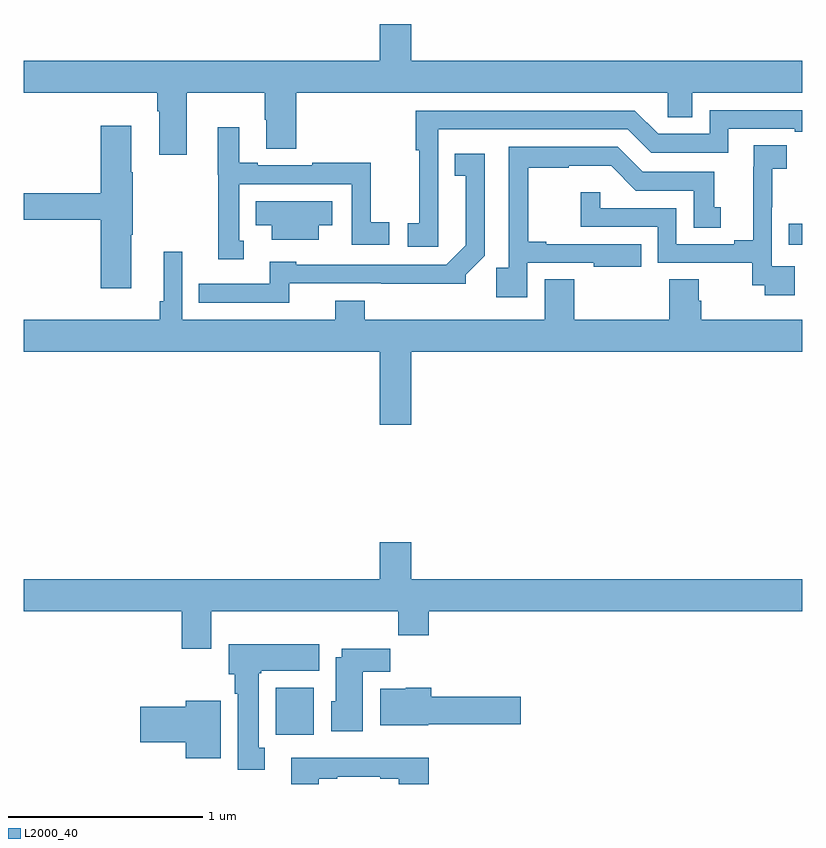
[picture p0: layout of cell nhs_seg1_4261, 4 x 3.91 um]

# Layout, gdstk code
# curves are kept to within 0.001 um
import gdstk
lib = gdstk.Library(unit=1e-6, precision=1e-09)
def R(c, l, rs):  # rectangles x0, y0, x1, y1
    for r in rs: c.add(gdstk.rectangle(r[:2], r[2:], *l))
def P(c, l, *ps):  # polygons
    for p in ps: c.add(gdstk.Polygon(p, *l))
L2000_40 = (2000, 40)

nhs_seg1_4261 = lib.new_cell('nhs_seg1_4261')
R(nhs_seg1_4261, L2000_40, [(344.294,528.452,344.491,528.694), (346.93,530.97,347,531.079)])
P(nhs_seg1_4261, L2000_40, [(343.837,531.752),(344.239,531.752),(344.239,531.614),(344.246,531.614),(344.246,531.463),(344.399,531.463),(344.399,531.752),(346.308,531.752),(346.308,531.625),(346.435,531.625),(346.435,531.752),(347,531.752),(347,531.916),(344.992,531.916),(344.992,532.105),(344.828,532.105),(344.828,531.916),(343,531.916),(343,531.752),(343.685,531.752),(343.685,531.656),(343.697,531.656),(343.697,531.432),(343.837,531.432)],
  [(345.13,531.236),(345.129,531.564),(346.104,531.564),(346.224,531.444),(346.62,531.444),(346.62,531.567),(346.961,531.567),(346.961,531.552),(347,531.552),(347,531.663),(346.524,531.663),(346.524,531.54),(346.26,531.54),(346.14,531.66),(345.013,531.66),(345.013,531.457),(345.031,531.457),(345.031,531.081),(344.973,531.081),(344.973,530.961),(345.13,530.961)],
  [(343.552,531.023),(343.56,531.023),(343.56,531.344),(343.552,531.344),(343.552,531.583),(343.394,531.583),(343.394,531.236),(343,531.236),(343,531.1),(343.394,531.1),(343.394,530.748),(343.552,530.748)],
  [(344.131,530.991),(344.106,530.991),(344.106,531.282),(344.685,531.282),(344.685,530.97),(344.878,530.97),(344.878,531.086),(344.784,531.086),(344.784,531.391),(344.482,531.391),(344.482,531.378),(344.203,531.378),(344.203,531.391),(344.107,531.391),(344.107,531.574),(343.997,531.574),(343.997,531.329),(343.998,531.329),(343.998,530.897),(344.131,530.897)],
  [(346.963,530.859),(346.845,530.859),(346.845,531.163),(346.847,531.163),(346.847,531.361),(346.921,531.361),(346.921,531.482),(346.75,531.482),(346.75,531.371),(346.748,531.371),(346.748,530.993),(346.652,530.993),(346.652,530.973),(346.353,530.973),(346.353,531.159),(345.963,531.159),(345.963,531.241),(345.862,531.241),(345.862,531.063),(346.257,531.063),(346.257,530.877),(346.744,530.877),(346.744,530.763),(346.807,530.763),(346.807,530.712),(346.963,530.712)],
  [(345.588,530.877),(345.929,530.877),(345.929,530.858),(346.172,530.858),(346.172,530.973),(345.685,530.973),(345.685,530.986),(345.593,530.986),(345.593,531.366),(345.8,531.366),(345.8,531.377),(346.018,531.377),(346.146,531.249),(346.442,531.249),(346.442,531.058),(346.582,531.058),(346.582,531.162),(346.549,531.162),(346.549,531.345),(346.182,531.345),(346.053,531.474),(345.492,531.474),(345.492,530.851),(345.427,530.851),(345.427,530.7),(345.588,530.7)],
  [(344.364,530.772),(345.27,530.771),(345.27,530.815),(345.369,530.914),(345.369,531.439),(345.214,531.439),(345.214,531.326),(345.272,531.326),(345.272,530.969),(345.171,530.868),(344.4,530.868),(344.4,530.884),(344.264,530.884),(344.264,530.769),(343.9,530.769),(343.9,530.673),(344.364,530.673)],
  [(344.515,531.071),(344.584,531.071),(344.584,531.193),(344.191,531.193),(344.191,531.071),(344.273,531.071),(344.273,530.996),(344.515,530.996)],
  [(344.992,530.42),(347,530.42),(347,530.584),(346.481,530.584),(346.481,530.682),(346.468,530.682),(346.468,530.792),(346.316,530.792),(346.316,530.584),(345.83,530.584),(345.83,530.792),(345.677,530.792),(345.677,530.584),(344.753,530.584),(344.753,530.683),(344.6,530.683),(344.6,530.584),(343.815,530.584),(343.815,530.935),(343.718,530.935),(343.718,530.68),(343.699,530.68),(343.699,530.584),(343,530.584),(343,530.42),(344.828,530.42),(344.828,530.046),(344.992,530.046)],
  [(343.963,529.088),(344.923,529.088),(344.923,528.964),(345.08,528.964),(345.08,529.088),(347,529.088),(347,529.252),(344.992,529.252),(344.992,529.441),(344.828,529.441),(344.828,529.252),(343,529.252),(343,529.088),(343.811,529.088),(343.811,528.894),(343.963,528.894)],
  [(344.239,528.386),(344.206,528.386),(344.206,528.769),(344.22,528.769),(344.22,528.782),(344.518,528.782),(344.518,528.916),(344.054,528.916),(344.054,528.762),(344.084,528.762),(344.084,528.662),(344.099,528.662),(344.099,528.273),(344.239,528.273)],
  [(344.743,528.776),(344.882,528.776),(344.882,528.895),(344.633,528.895),(344.633,528.85),(344.603,528.85),(344.603,528.624),(344.579,528.624),(344.579,528.47),(344.743,528.47)],
  [(345.078,528.506),(345.553,528.506),(345.553,528.648),(345.095,528.648),(345.095,528.694),(344.964,528.694),(344.964,528.688),(344.831,528.688),(344.831,528.5),(345.078,528.5)],
  [(344.011,528.628),(343.832,528.628),(343.832,528.596),(343.599,528.596),(343.599,528.413),(343.832,528.413),(343.832,528.332),(344.011,528.332)],
  [(344.515,528.225),(344.611,528.225),(344.611,528.237),(344.831,528.237),(344.831,528.225),(344.927,528.225),(344.927,528.199),(345.08,528.199),(345.08,528.334),(344.375,528.334),(344.375,528.199),(344.515,528.199)])

lib.write_gds('nhs_seg1_4261.gds')
